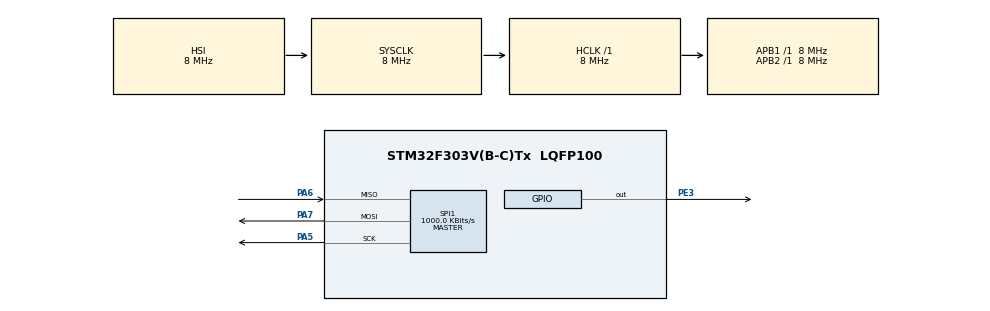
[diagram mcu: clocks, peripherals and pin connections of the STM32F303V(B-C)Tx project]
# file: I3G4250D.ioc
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Mcu.Family=STM32F3
Mcu.Name=STM32F303V(B-C)Tx
Mcu.Package=LQFP100
NVIC.PriorityGroup=NVIC_PRIORITYGROUP_4
PA5.Mode=Full_Duplex_Master
PA5.Signal=SPI1_SCK
PA6.Mode=Full_Duplex_Master
PA6.Signal=SPI1_MISO
PA7.Mode=Full_Duplex_Master
PA7.Signal=SPI1_MOSI
PE3.PinState=GPIO_PIN_SET
PE3.Signal=GPIO_Output
ProjectManager.HeapSize=0x200
ProjectManager.StackSize=0x400
ProjectManager.TargetToolchain=STM32CubeIDE
RCC.AHBFreq_Value=8000000
RCC.APB1Freq_Value=8000000
RCC.APB2Freq_Value=8000000
RCC.CortexFreq_Value=8000000
RCC.HSE_VALUE=8000000
RCC.HSI_VALUE=8000000
RCC.LSE_VALUE=32768
RCC.SYSCLKFreq_VALUE=8000000
SPI1.BaudRatePrescaler=SPI_BAUDRATEPRESCALER_8
SPI1.CalculateBaudRate=1000.0 KBits/s
SPI1.DataSize=SPI_DATASIZE_8BIT
SPI1.Direction=SPI_DIRECTION_2LINES
SPI1.FirstBit=SPI_FIRSTBIT_MSB
SPI1.Mode=SPI_MODE_MASTER
SPI1.VirtualType=VM_MASTER
board=custom

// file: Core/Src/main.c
/* USER CODE BEGIN Header */
/**
  ******************************************************************************
  * @file           : main.c
  * @brief          : Main program body
  ******************************************************************************
  * @attention
  *
  * Copyright (c) 2021 STMicroelectronics.
  * All rights reserved.
  *
  * This software is licensed under terms that can be found in the LICENSE file
  * in the root directory of this software component.
  * If no LICENSE file comes with this software, it is provided AS-IS.
  *
  ******************************************************************************
  */
/* USER CODE END Header */
#include "main.h"

SPI_HandleTypeDef hspi1;

/* USER CODE BEGIN PV */
uint8_t Return[2],TxBuf[2];
int16_t Rx_x,Rx_y,Rx_z;
float X_degree,Y_degree,Z_degree;
uint8_t ReadFlag=0x80;
uint8_t MultiByteFlag=0x40;
float Senstivity=8.75;
/* USER CODE END PV */

void SystemClock_Config(void);
static void MX_GPIO_Init(void);
static void MX_SPI1_Init(void);

int main(void)
{

  /* MCU Configuration--------------------------------------------------------*/

  /* Reset of all peripherals, Initializes the Flash interface and the Systick. */
  HAL_Init();

  /* Configure the system clock */
  SystemClock_Config();

  /* Initialize all configured peripherals */
  MX_GPIO_Init();
  MX_SPI1_Init();
  /* USER CODE BEGIN 2 */
  HAL_GPIO_WritePin(GPIOE, GPIO_PIN_3, RESET);//CS Pin Low
  TxBuf[0]=0x0f|ReadFlag;//Read Address of Register
  HAL_SPI_Transmit(&hspi1, TxBuf, 1, 50);
  HAL_SPI_Receive(&hspi1, Return, 1, 50);
  HAL_GPIO_WritePin(GPIOE, GPIO_PIN_3, SET);//CS Pin High

  HAL_GPIO_WritePin(GPIOE, GPIO_PIN_3, RESET);//CS Pin Low
  TxBuf[0]=0x20;//Address of Register
  TxBuf[1]=0x3F;//Address of Register
  HAL_SPI_Transmit(&hspi1, TxBuf, 2, 50);
  HAL_GPIO_WritePin(GPIOE, GPIO_PIN_3, SET);//CS Pin High

  HAL_GPIO_WritePin(GPIOE, GPIO_PIN_3, RESET);//CS Pin Low
  TxBuf[0]=0x23;//Address of Register
  TxBuf[1]=0x00;//Address of Register
  HAL_SPI_Transmit(&hspi1, TxBuf, 2, 50);
  HAL_GPIO_WritePin(GPIOE, GPIO_PIN_3, SET);//CS Pin High
  /* USER CODE END 2 */

  /* Infinite loop */
  /* USER CODE BEGIN WHILE */
  while (1)
  {
	  HAL_GPIO_WritePin(GPIOE, GPIO_PIN_3, RESET);//CS Pin Low
	  TxBuf[0]=0x28|ReadFlag|MultiByteFlag;//Read Address of Register
	  HAL_SPI_Transmit(&hspi1, TxBuf, 1, 50);
	  HAL_SPI_Receive(&hspi1, Return, 2, 50);
	  HAL_GPIO_WritePin(GPIOE, GPIO_PIN_3, SET);//CS Pin High
	  Rx_x = ((int16_t)((uint16_t)Return[1]<<8) | Return[0]);
	  X_degree= (Rx_x*Senstivity)/1000;

	  HAL_GPIO_WritePin(GPIOE, GPIO_PIN_3, RESET);//CS Pin Low
	  TxBuf[0]=0x2A|ReadFlag|MultiByteFlag;//Read Address of Register
	  HAL_SPI_Transmit(&hspi1, TxBuf, 1, 50);
	  HAL_SPI_Receive(&hspi1, Return, 2, 50);
	  HAL_GPIO_WritePin(GPIOE, GPIO_PIN_3, SET);//CS Pin High
	  Rx_y = ((int16_t)((uint16_t)Return[1]<<8) | Return[0]);
	  Y_degree= (Rx_y*Senstivity)/1000;

	  HAL_GPIO_WritePin(GPIOE, GPIO_PIN_3, RESET);//CS Pin Low
	  TxBuf[0]=0x2C|ReadFlag|MultiByteFlag;//Read Address of Register
	  HAL_SPI_Transmit(&hspi1, TxBuf, 1, 50);
	  HAL_SPI_Receive(&hspi1, Return, 2, 50);
	  HAL_GPIO_WritePin(GPIOE, GPIO_PIN_3, SET);//CS Pin High
	  Rx_z = ((int16_t)((uint16_t)Return[1]<<8) | Return[0]);
	  Z_degree= (Rx_z*Senstivity)/1000;
    /* USER CODE END WHILE */

  }
}

void SystemClock_Config(void)
{
  RCC_OscInitTypeDef RCC_OscInitStruct = {0};
  RCC_ClkInitTypeDef RCC_ClkInitStruct = {0};

  /** Initializes the RCC Oscillators according to the specified parameters
  * in the RCC_OscInitTypeDef structure.
  */
  RCC_OscInitStruct.OscillatorType = RCC_OSCILLATORTYPE_HSI;
  RCC_OscInitStruct.HSIState = RCC_HSI_ON;
  RCC_OscInitStruct.HSICalibrationValue = RCC_HSICALIBRATION_DEFAULT;
  RCC_OscInitStruct.PLL.PLLState = RCC_PLL_NONE;
  if (HAL_RCC_OscConfig(&RCC_OscInitStruct) != HAL_OK)
  {
    Error_Handler();
  }
  /** Initializes the CPU, AHB and APB buses clocks
  */
  RCC_ClkInitStruct.ClockType = RCC_CLOCKTYPE_HCLK|RCC_CLOCKTYPE_SYSCLK
                              |RCC_CLOCKTYPE_PCLK1|RCC_CLOCKTYPE_PCLK2;
  RCC_ClkInitStruct.SYSCLKSource = RCC_SYSCLKSOURCE_HSI;
  RCC_ClkInitStruct.AHBCLKDivider = RCC_SYSCLK_DIV1;
  RCC_ClkInitStruct.APB1CLKDivider = RCC_HCLK_DIV1;
  RCC_ClkInitStruct.APB2CLKDivider = RCC_HCLK_DIV1;

  if (HAL_RCC_ClockConfig(&RCC_ClkInitStruct, FLASH_LATENCY_0) != HAL_OK)
  {
    Error_Handler();
  }
}

static void MX_SPI1_Init(void)
{

  /* SPI1 parameter configuration*/
  hspi1.Instance = SPI1;
  hspi1.Init.Mode = SPI_MODE_MASTER;
  hspi1.Init.Direction = SPI_DIRECTION_2LINES;
  hspi1.Init.DataSize = SPI_DATASIZE_8BIT;
  hspi1.Init.CLKPolarity = SPI_POLARITY_LOW;
  hspi1.Init.CLKPhase = SPI_PHASE_1EDGE;
  hspi1.Init.NSS = SPI_NSS_SOFT;
  hspi1.Init.BaudRatePrescaler = SPI_BAUDRATEPRESCALER_8;
  hspi1.Init.FirstBit = SPI_FIRSTBIT_MSB;
  hspi1.Init.TIMode = SPI_TIMODE_DISABLE;
  hspi1.Init.CRCCalculation = SPI_CRCCALCULATION_DISABLE;
  hspi1.Init.CRCPolynomial = 7;
  hspi1.Init.CRCLength = SPI_CRC_LENGTH_DATASIZE;
  hspi1.Init.NSSPMode = SPI_NSS_PULSE_ENABLE;
  if (HAL_SPI_Init(&hspi1) != HAL_OK)
  {
    Error_Handler();
  }

}

static void MX_GPIO_Init(void)
{
  GPIO_InitTypeDef GPIO_InitStruct = {0};

  /* GPIO Ports Clock Enable */
  __HAL_RCC_GPIOE_CLK_ENABLE();
  __HAL_RCC_GPIOA_CLK_ENABLE();

  /*Configure GPIO pin Output Level */
  HAL_GPIO_WritePin(GPIOE, GPIO_PIN_3, GPIO_PIN_SET);

  /*Configure GPIO pin : PE3 */
  GPIO_InitStruct.Pin = GPIO_PIN_3;
  GPIO_InitStruct.Mode = GPIO_MODE_OUTPUT_PP;
  GPIO_InitStruct.Pull = GPIO_NOPULL;
  GPIO_InitStruct.Speed = GPIO_SPEED_FREQ_LOW;
  HAL_GPIO_Init(GPIOE, &GPIO_InitStruct);

}

void Error_Handler(void)
{
  __disable_irq();
  while (1)
  {
  }
}
